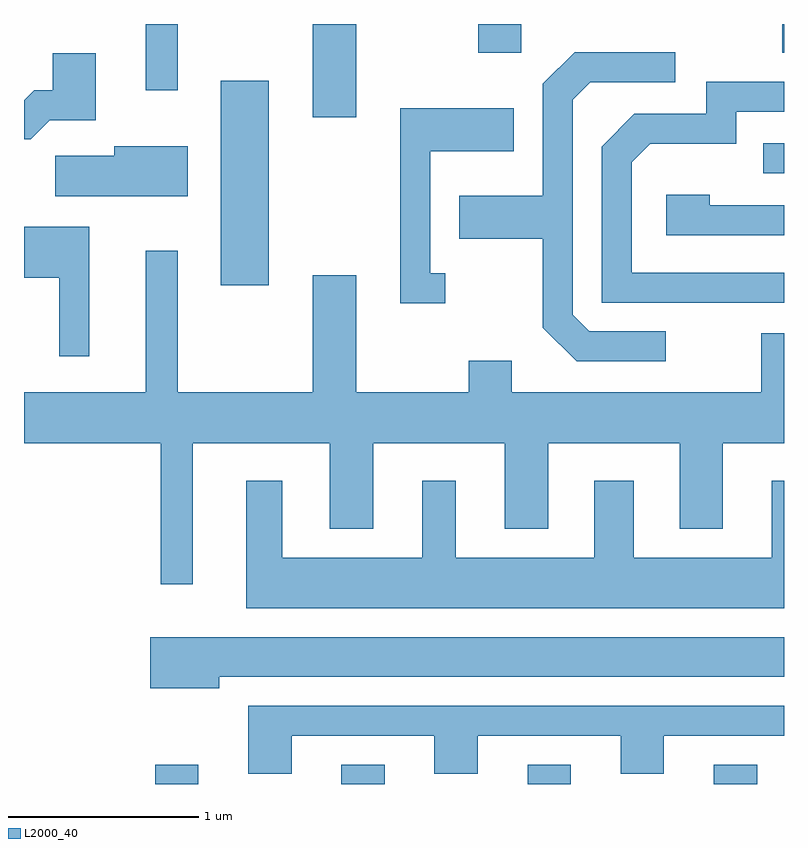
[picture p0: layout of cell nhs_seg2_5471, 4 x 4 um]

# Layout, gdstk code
import gdstk
lib = gdstk.Library(unit=1e-6, precision=1e-09)
def R(c, l, rs):  # rectangles x0, y0, x1, y1
    for r in rs: c.add(gdstk.rectangle(r[:2], r[2:], *l))
def A(c, l, x, y, w, h, nx, ny, dx, dy):  # array of equal rectangles
    R(c, l, [(x+i*dx, y+j*dy, x+i*dx+w, y+j*dy+h) for i in range(nx) for j in range(ny)])
def P(c, l, *ps):  # polygons
    for p in ps: c.add(gdstk.Polygon(p, *l))
L2000_40 = (2000, 40)

nhs_seg2_5471 = lib.new_cell('nhs_seg2_5471')
A(nhs_seg2_5471, L2000_40, 346.301, 1099.802, 0.228, 0.102, 4, 1, 0.98, 0)
R(nhs_seg2_5471, L2000_40, [(346.646,1102.426,346.899,1103.504), (349.503,1103.016,349.611,1103.174), (347.131,1103.311,347.359,1103.802), (346.251,1103.453,346.419,1103.802), (348.001,1103.651,348.229,1103.802), (349.601,1103.651,349.611,1103.802)])
P(nhs_seg2_5471, L2000_40, [(348.988,1102.184),(348.587,1102.184),(348.499,1102.272),(348.499,1103.404),(348.592,1103.496),(349.038,1103.496),(349.038,1103.654),(348.509,1103.654),(348.341,1103.487),(348.341,1102.899),(347.901,1102.899),(347.901,1102.671),(348.341,1102.671),(348.341,1102.204),(348.519,1102.026),(348.988,1102.026)],
  [(345.747,1103.296),(345.989,1103.296),(345.989,1103.649),(345.761,1103.649),(345.761,1103.454),(345.664,1103.454),(345.611,1103.401),(345.611,1103.196),(345.647,1103.196)],
  [(349.611,1102.494),(348.809,1102.494),(348.809,1103.074),(348.907,1103.171),(349.359,1103.171),(349.359,1103.341),(349.611,1103.341),(349.611,1103.499),(349.201,1103.499),(349.201,1103.329),(348.824,1103.329),(348.651,1103.157),(348.651,1102.336),(349.611,1102.336)],
  [(347.828,1102.489),(347.749,1102.489),(347.749,1103.131),(348.189,1103.131),(348.189,1103.359),(347.591,1103.359),(347.591,1102.331),(347.828,1102.331)],
  [(346.474,1103.159),(346.086,1103.159),(346.086,1103.109),(345.776,1103.109),(345.776,1102.896),(346.474,1102.896)],
  [(349.611,1102.849),(349.219,1102.849),(349.219,1102.904),(348.991,1102.904),(348.991,1102.691),(349.611,1102.691)],
  [(345.954,1102.734),(345.611,1102.734),(345.611,1102.466),(345.796,1102.466),(345.796,1102.053),(345.954,1102.053)],
  [(346.499,1101.596),(347.221,1101.596),(347.221,1101.146),(347.449,1101.146),(347.449,1101.596),(348.141,1101.596),(348.141,1101.146),(348.369,1101.146),(348.369,1101.596),(349.061,1101.596),(349.061,1101.146),(349.289,1101.146),(349.289,1101.596),(349.611,1101.596),(349.611,1102.174),(349.491,1102.174),(349.491,1101.864),(348.179,1101.864),(348.179,1102.029),(347.951,1102.029),(347.951,1101.864),(347.359,1101.864),(347.359,1102.479),(347.131,1102.479),(347.131,1101.864),(346.419,1101.864),(346.419,1102.608),(346.251,1102.608),(346.251,1101.864),(345.611,1101.864),(345.611,1101.596),(346.331,1101.596),(346.331,1100.853),(346.499,1100.853)],
  [(349.611,1101.399),(349.546,1101.399),(349.546,1100.994),(348.819,1100.994),(348.819,1101.399),(348.611,1101.399),(348.611,1100.994),(347.884,1100.994),(347.884,1101.399),(347.706,1101.399),(347.706,1100.994),(346.969,1100.994),(346.969,1101.399),(346.781,1101.399),(346.781,1100.726),(349.611,1100.726)],
  [(346.639,1100.366),(349.611,1100.366),(349.611,1100.574),(346.276,1100.574),(346.276,1100.306),(346.639,1100.306)],
  [(347.019,1100.056),(347.771,1100.056),(347.771,1099.856),(347.999,1099.856),(347.999,1100.056),(348.751,1100.056),(348.751,1099.856),(348.979,1099.856),(348.979,1100.056),(349.611,1100.056),(349.611,1100.214),(346.791,1100.214),(346.791,1099.856),(347.019,1099.856)])

lib.write_gds('nhs_seg2_5471.gds')
